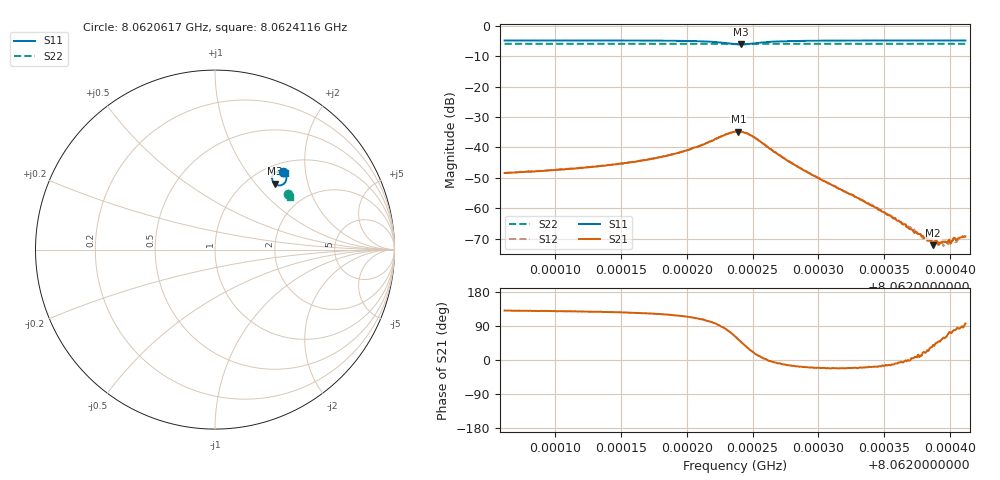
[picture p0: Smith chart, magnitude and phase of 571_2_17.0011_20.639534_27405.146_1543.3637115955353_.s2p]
#  HZ  S  RI  R  50.00
! Rohde & Schwarz Vector Network Analyzer
! Rohde-Schwarz,ZNB20-2Port,1311601062101988,3.16
! Created: UTC 3/20/2024, 11:17:43 PM
! freq[Hz]  re:S11  im:S11  re:S21  im:S21  re:S12  im:S12  re:S22  im:S22
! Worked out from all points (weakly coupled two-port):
!   401 points, 8.0620617 GHz to 8.0624116 GHz, reference 50 ohm
!   highest |S21| = -34.76 dB at 8.0622393 GHz (marker M1); lowest = -72.1 dB at 8.0623871 GHz (marker M2)
!   lowest |S11| = -6.1 dB at 8.062241 GHz (marker M3), VSWR 2.96, Z = 65 + j63.2 ohm
!   |S11| at or under -10 dB: nowhere
!   |S22| runs from -5.9 to -5.9 dB; largest |S21 - S12| = 0.0012
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8.06206168e9  0.3812 0.4318  -0.00247 0.00289  -0.00229 0.00304  0.4047 0.3079
8.06212029e9  0.3867 0.426  -0.00282 0.00362  -0.00262 0.00386  0.4069 0.3048
8.06215004e9  0.3903 0.4212  -0.00317 0.00442  -0.00293 0.00462  0.4079 0.3032
8.06217891e9  0.3943 0.4136  -0.00358 0.00588  -0.00323 0.0061  0.409 0.3015
8.06220602e9  0.3978 0.3972  -0.00358 0.00937  -0.00303 0.0095  0.4098 0.2993
8.06222352e9  0.3892 0.3723  -0.000735 0.0143  3.63e-05 0.0143  0.4096 0.2977
8.06223664e9  0.3497 0.3582  0.0084 0.0162  0.00931 0.0157  0.4083 0.2969
8.06223927e9  0.3386 0.3625  0.0107 0.0148  0.0116 0.0144  0.4078 0.2971
8.06224102e9  0.3319 0.3671  0.012 0.0136  0.0129 0.0131  0.4076 0.2974
8.06225064e9  0.3189 0.4042  0.014 0.00515  0.0144 0.00435  0.4079 0.2987
8.06227513e9  0.3516 0.4363  0.00621 -0.00137  0.00619 -0.0018  0.4106 0.2985
8.06229525e9  0.3658 0.4363  0.00333 -0.0012  0.00331 -0.00144  0.4119 0.2974
8.06235387e9  0.3813 0.4302  0.000739 -0.000166  0.000749 -0.000198  0.4144 0.294
8.06236524e9  0.3828 0.4292  0.000546 -3.01e-05  0.00052 -8.97e-05  0.4149 0.2935
8.06237049e9  0.3834 0.4287  0.000453 3.63e-05  0.000477 -4.45e-05  0.4151 0.2932
8.06238361e9  0.3851 0.4278  0.000283 0.000126  0.000265 0.00013  0.4156 0.2925
8.06238711e9  0.3855 0.4273  0.000189 0.00016  0.000215 0.000162  0.4156 0.2923
8.06239323e9  0.3861 0.4269  0.000161 0.000218  0.000177 0.000213  0.4158 0.2919
8.06239935e9  0.3868 0.4266  8.56e-05 0.000292  0.000103 0.000265  0.4161 0.2915
8.06240548e9  0.3874 0.426  2.43e-05 0.000315  4.95e-05 0.000286  0.4163 0.2912
8.06240898e9  0.3876 0.4258  5.81e-06 0.000335  -5.37e-06 0.000354  0.4164 0.2912
8.0624116e9  0.3881 0.4256  -3.74e-05 0.000341  3.45e-05 0.000338  0.4165 0.291
